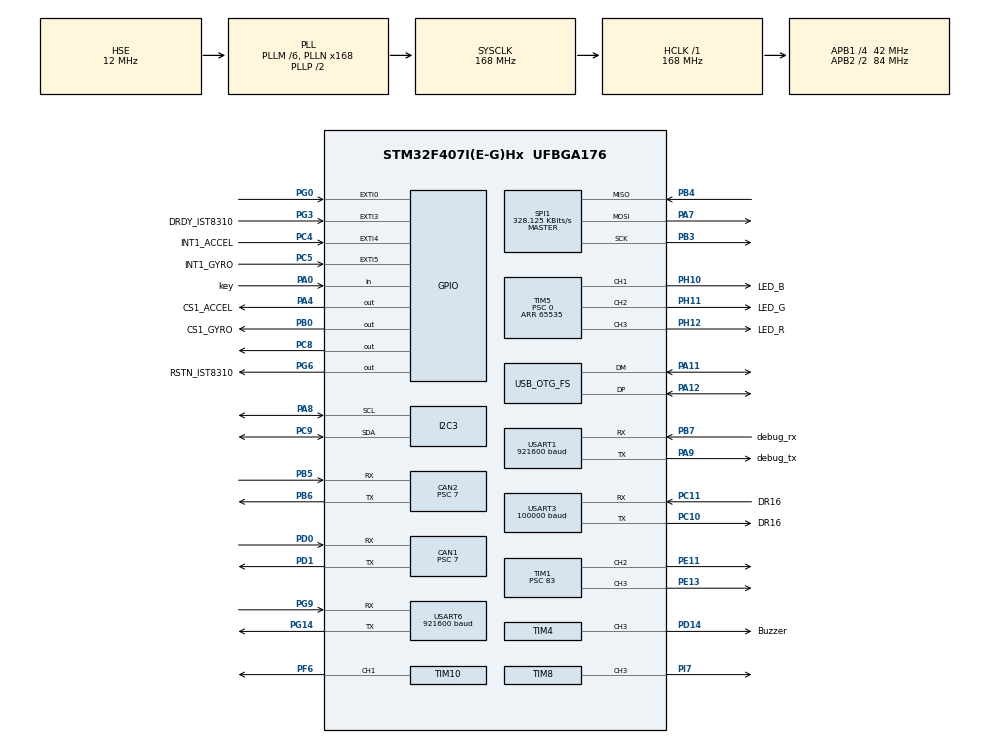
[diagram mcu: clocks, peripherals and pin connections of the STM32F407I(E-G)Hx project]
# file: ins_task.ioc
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CAN1.ABOM=ENABLE
CAN1.AWUM=ENABLE
CAN1.BS1=CAN_BS1_3TQ
CAN1.BS2=CAN_BS2_2TQ
CAN1.CalculateBaudRate=999999
CAN1.CalculateTimeBit=1000
CAN1.CalculateTimeQuantum=166.66666666666669
CAN1.NART=ENABLE
CAN1.Prescaler=7
CAN1.TXFP=ENABLE
CAN2.ABOM=ENABLE
CAN2.AWUM=ENABLE
CAN2.BS1=CAN_BS1_3TQ
CAN2.BS2=CAN_BS2_2TQ
CAN2.CalculateBaudRate=999999
CAN2.CalculateTimeQuantum=166.66666666666669
CAN2.Prescaler=7
Dma.Request0=SPI1_RX
Dma.Request1=SPI1_TX
Dma.Request2=USART3_RX
Dma.Request3=USART6_RX
Dma.Request4=USART1_RX
Dma.Request5=TIM8_CH3
Dma.SPI1_RX.0.Direction=DMA_PERIPH_TO_MEMORY
Dma.SPI1_RX.0.FIFOMode=DMA_FIFOMODE_DISABLE
Dma.SPI1_RX.0.Instance=DMA2_Stream2
Dma.SPI1_RX.0.MemDataAlignment=DMA_MDATAALIGN_BYTE
Dma.SPI1_RX.0.MemInc=DMA_MINC_ENABLE
Dma.SPI1_RX.0.Mode=DMA_NORMAL
Dma.SPI1_RX.0.PeriphDataAlignment=DMA_PDATAALIGN_BYTE
Dma.SPI1_RX.0.PeriphInc=DMA_PINC_DISABLE
Dma.SPI1_RX.0.Priority=DMA_PRIORITY_VERY_HIGH
Dma.SPI1_TX.1.Direction=DMA_MEMORY_TO_PERIPH
Dma.SPI1_TX.1.FIFOMode=DMA_FIFOMODE_DISABLE
Dma.SPI1_TX.1.Instance=DMA2_Stream3
Dma.SPI1_TX.1.MemDataAlignment=DMA_MDATAALIGN_BYTE
Dma.SPI1_TX.1.MemInc=DMA_MINC_ENABLE
Dma.SPI1_TX.1.Mode=DMA_NORMAL
Dma.SPI1_TX.1.PeriphDataAlignment=DMA_PDATAALIGN_BYTE
Dma.SPI1_TX.1.PeriphInc=DMA_PINC_DISABLE
Dma.SPI1_TX.1.Priority=DMA_PRIORITY_HIGH
Dma.TIM8_CH3.5.Direction=DMA_MEMORY_TO_PERIPH
Dma.TIM8_CH3.5.FIFOMode=DMA_FIFOMODE_DISABLE
Dma.TIM8_CH3.5.Instance=DMA2_Stream4
Dma.TIM8_CH3.5.MemDataAlignment=DMA_MDATAALIGN_HALFWORD
Dma.TIM8_CH3.5.MemInc=DMA_MINC_ENABLE
Dma.TIM8_CH3.5.Mode=DMA_NORMAL
Dma.TIM8_CH3.5.PeriphDataAlignment=DMA_PDATAALIGN_HALFWORD
Dma.TIM8_CH3.5.PeriphInc=DMA_PINC_DISABLE
Dma.TIM8_CH3.5.Priority=DMA_PRIORITY_LOW
Dma.USART1_RX.4.Direction=DMA_PERIPH_TO_MEMORY
Dma.USART1_RX.4.FIFOMode=DMA_FIFOMODE_DISABLE
Dma.USART1_RX.4.Instance=DMA2_Stream5
Dma.USART1_RX.4.MemDataAlignment=DMA_MDATAALIGN_BYTE
Dma.USART1_RX.4.MemInc=DMA_MINC_ENABLE
Dma.USART1_RX.4.Mode=DMA_CIRCULAR
Dma.USART1_RX.4.PeriphDataAlignment=DMA_PDATAALIGN_BYTE
Dma.USART1_RX.4.PeriphInc=DMA_PINC_DISABLE
Dma.USART1_RX.4.Priority=DMA_PRIORITY_LOW
Dma.USART3_RX.2.Direction=DMA_PERIPH_TO_MEMORY
Dma.USART3_RX.2.FIFOMode=DMA_FIFOMODE_DISABLE
Dma.USART3_RX.2.Instance=DMA1_Stream1
Dma.USART3_RX.2.MemDataAlignment=DMA_MDATAALIGN_BYTE
Dma.USART3_RX.2.MemInc=DMA_MINC_ENABLE
Dma.USART3_RX.2.Mode=DMA_CIRCULAR
Dma.USART3_RX.2.PeriphDataAlignment=DMA_PDATAALIGN_BYTE
Dma.USART3_RX.2.PeriphInc=DMA_PINC_DISABLE
Dma.USART3_RX.2.Priority=DMA_PRIORITY_LOW
Dma.USART6_RX.3.Direction=DMA_PERIPH_TO_MEMORY
Dma.USART6_RX.3.FIFOMode=DMA_FIFOMODE_DISABLE
Dma.USART6_RX.3.Instance=DMA2_Stream1
Dma.USART6_RX.3.MemDataAlignment=DMA_MDATAALIGN_BYTE
Dma.USART6_RX.3.MemInc=DMA_MINC_ENABLE
Dma.USART6_RX.3.Mode=DMA_NORMAL
Dma.USART6_RX.3.PeriphDataAlignment=DMA_PDATAALIGN_BYTE
Dma.USART6_RX.3.PeriphInc=DMA_PINC_DISABLE
Dma.USART6_RX.3.Priority=DMA_PRIORITY_LOW
FREERTOS.INCLUDE_eTaskGetState=1
FREERTOS.INCLUDE_pcTaskGetTaskName=1
FREERTOS.INCLUDE_uxTaskGetStackHighWaterMark=1
FREERTOS.INCLUDE_vTaskCleanUpResources=1
FREERTOS.INCLUDE_vTaskDelayUntil=1
FREERTOS.INCLUDE_xEventGroupSetBitFromISR=1
FREERTOS.INCLUDE_xQueueGetMutexHolder=1
FREERTOS.INCLUDE_xSemaphoreGetMutexHolder=1
FREERTOS.INCLUDE_xTaskAbortDelay=1
FREERTOS.INCLUDE_xTaskGetCurrentTaskHandle=1
FREERTOS.INCLUDE_xTaskGetHandle=1
FREERTOS.INCLUDE_xTimerPendFunctionCall=1
FREERTOS.Tasks01=All_Init,0,128,All_Init_Run,Default,NULL,Dynamic,NULL,NULL
FREERTOS.configTOTAL_HEAP_SIZE=24576
I2C3.I2C_Mode=I2C_Fast
Mcu.Family=STM32F4
Mcu.Name=STM32F407I(E-G)Hx
Mcu.Package=UFBGA176
NVIC.CAN1_RX0_IRQn=true\:5\:0\:false\:false\:true\:true\:true\:true\:true
NVIC.CAN2_RX0_IRQn=true\:5\:0\:true\:false\:true\:true\:true\:true\:true
NVIC.DMA1_Stream1_IRQn=true\:5\:0\:false\:false\:true\:true\:false\:true\:true
NVIC.DMA2_Stream1_IRQn=true\:5\:0\:false\:false\:true\:true\:false\:true\:true
NVIC.DMA2_Stream2_IRQn=true\:5\:0\:true\:false\:false\:true\:false\:true\:true
NVIC.DMA2_Stream3_IRQn=true\:5\:0\:true\:false\:false\:true\:false\:true\:true
NVIC.DMA2_Stream4_IRQn=true\:5\:0\:false\:false\:true\:true\:false\:true\:true
NVIC.DMA2_Stream5_IRQn=true\:5\:0\:false\:false\:true\:true\:false\:true\:true
NVIC.EXTI0_IRQn=true\:6\:0\:true\:false\:true\:true\:true\:true\:true
NVIC.EXTI3_IRQn=true\:5\:0\:true\:false\:true\:true\:true\:true\:true
NVIC.EXTI4_IRQn=true\:5\:0\:true\:false\:true\:true\:true\:true\:true
NVIC.EXTI9_5_IRQn=true\:5\:0\:true\:false\:true\:true\:true\:true\:true
NVIC.OTG_FS_IRQn=true\:5\:0\:false\:false\:true\:true\:true\:true\:true
NVIC.PriorityGroup=NVIC_PRIORITYGROUP_4
NVIC.TIM6_DAC_IRQn=true\:0\:0\:false\:false\:true\:false\:true\:true\:true
NVIC.TimeBase=TIM6_DAC_IRQn
NVIC.TimeBaseIP=TIM6
NVIC.USART1_IRQn=true\:5\:0\:false\:false\:true\:true\:true\:true\:true
NVIC.USART3_IRQn=true\:5\:0\:false\:false\:true\:true\:true\:true\:true
NVIC.USART6_IRQn=true\:5\:0\:false\:false\:true\:true\:true\:true\:true
PA0-WKUP.GPIO_Label=key
PA0-WKUP.GPIO_PuPd=GPIO_PULLUP
PA0-WKUP.Signal=GPIO_Input
PA11.Mode=Device_Only
PA11.Signal=USB_OTG_FS_DM
PA12.Mode=Device_Only
PA12.Signal=USB_OTG_FS_DP
PA13.Mode=Serial_Wire
PA13.Signal=SYS_JTMS-SWDIO
PA14.Mode=Serial_Wire
PA14.Signal=SYS_JTCK-SWCLK
PA4.GPIO_Label=CS1_ACCEL
PA4.GPIO_PuPd=GPIO_PULLUP
PA4.GPIO_Speed=GPIO_SPEED_FREQ_HIGH
PA4.PinState=GPIO_PIN_SET
PA4.Signal=GPIO_Output
PA7.GPIO_PuPd=GPIO_PULLUP
PA7.Mode=Full_Duplex_Master
PA7.Signal=SPI1_MOSI
PA8.GPIO_Pu=GPIO_PULLUP
PA8.Mode=I2C
PA8.Signal=I2C3_SCL
PA9.GPIO_Label=debug_tx
PA9.Mode=Asynchronous
PA9.Signal=USART1_TX
PB0.GPIO_Label=CS1_GYRO
PB0.GPIO_PuPd=GPIO_PULLUP
PB0.GPIO_Speed=GPIO_SPEED_FREQ_HIGH
PB0.PinState=GPIO_PIN_SET
PB0.Signal=GPIO_Output
PB3.GPIO_PuPd=GPIO_PULLUP
PB3.Mode=Full_Duplex_Master
PB3.Signal=SPI1_SCK
PB4.GPIO_PuPd=GPIO_PULLUP
PB4.Mode=Full_Duplex_Master
PB4.Signal=SPI1_MISO
PB5.Mode=CAN_Activate
PB5.Signal=CAN2_RX
PB6.Mode=CAN_Activate
PB6.Signal=CAN2_TX
PB7.GPIO_Label=debug_rx
PB7.Mode=Asynchronous
PB7.Signal=USART1_RX
PC10.GPIO_Label=DR16
PC10.Mode=Asynchronous
PC10.Signal=USART3_TX
PC11.GPIO_Label=DR16
PC11.Mode=Asynchronous
PC11.Signal=USART3_RX
PC4.GPIO_Label=INT1_ACCEL
PC4.GPIO_ModeDefaultEXTI=GPIO_MODE_IT_FALLING
PC4.GPIO_PuPd=GPIO_PULLUP
PC4.Signal=GPXTI4
PC5.GPIO_Label=INT1_GYRO
PC5.GPIO_ModeDefaultEXTI=GPIO_MODE_IT_FALLING
PC5.GPIO_PuPd=GPIO_PULLUP
PC5.Signal=GPXTI5
PC8.GPIO_PuPd=GPIO_NOPULL
PC8.Signal=GPIO_Output
PC9.GPIO_Pu=GPIO_PULLUP
PC9.Mode=I2C
PC9.Signal=I2C3_SDA
PD0.Mode=CAN_Activate
PD0.Signal=CAN1_RX
PD1.Mode=CAN_Activate
PD1.Signal=CAN1_TX
PD14.GPIO_Label=Buzzer
PD14.Signal=S_TIM4_CH3
PE11.Signal=S_TIM1_CH2
PE13.Signal=S_TIM1_CH3
PF6.GPIO_PuPd=GPIO_PULLUP
PF6.GPIO_Speed=GPIO_SPEED_FREQ_HIGH
PF6.Signal=S_TIM10_CH1
PG0.GPIO_ModeDefaultEXTI=GPIO_MODE_IT_FALLING
PG0.GPIO_PuPd=GPIO_PULLUP
PG0.Signal=GPXTI0
PG14.Mode=Asynchronous
PG14.Signal=USART6_TX
PG3.GPIO_Label=DRDY_IST8310
PG3.GPIO_ModeDefaultEXTI=GPIO_MODE_IT_FALLING
PG3.GPIO_PuPd=GPIO_PULLUP
PG3.Signal=GPXTI3
PG6.GPIO_Label=RSTN_IST8310
PG6.GPIO_PuPd=GPIO_PULLUP
PG6.GPIO_Speed=GPIO_SPEED_FREQ_MEDIUM
PG6.PinState=GPIO_PIN_SET
PG6.Signal=GPIO_Output
PG9.Mode=Asynchronous
PG9.Signal=USART6_RX
PH0-OSC_IN.Mode=HSE-External-Oscillator
PH0-OSC_IN.Signal=RCC_OSC_IN
PH1-OSC_OUT.Mode=HSE-External-Oscillator
PH1-OSC_OUT.Signal=RCC_OSC_OUT
PH10.GPIO_Label=LED_B
PH10.GPIO_PuPd=GPIO_PULLUP
PH10.GPIO_Speed=GPIO_SPEED_FREQ_HIGH
PH10.Signal=S_TIM5_CH1
PH11.GPIO_Label=LED_G
PH11.GPIO_PuPd=GPIO_PULLUP
PH11.GPIO_Speed=GPIO_SPEED_FREQ_HIGH
PH11.Signal=S_TIM5_CH2
PH12.GPIO_Label=LED_R
PH12.GPIO_PuPd=GPIO_PULLUP
PH12.GPIO_Speed=GPIO_SPEED_FREQ_HIGH
PH12.Signal=S_TIM5_CH3
PI7.Signal=S_TIM8_CH3
ProjectManager.HeapSize=0x2000
ProjectManager.StackSize=0x2000
ProjectManager.TargetToolchain=MDK-ARM V5.32
RCC.48MHZClocksFreq_Value=48000000
RCC.AHBFreq_Value=168000000
RCC.APB1CLKDivider=RCC_HCLK_DIV4
RCC.APB1Freq_Value=42000000
RCC.APB1TimFreq_Value=84000000
RCC.APB2CLKDivider=RCC_HCLK_DIV2
RCC.APB2Freq_Value=84000000
RCC.APB2TimFreq_Value=168000000
RCC.CortexFreq_Value=168000000
RCC.HCLKFreq_Value=168000000
RCC.HSE_VALUE=12000000
RCC.HSI_VALUE=16000000
RCC.LSE_VALUE=32768
RCC.PLLM=6
RCC.PLLN=168
RCC.PLLQ=7
RCC.PLLSourceVirtual=RCC_PLLSOURCE_HSE
RCC.RCC_RTC_Clock_SourceVirtual=RCC_RTCCLKSOURCE_HSE_DIV30
RCC.RCC_RTC_Clock_Source_FROM_HSE=RCC_RTCCLKSOURCE_HSE_DIV30
RCC.SYSCLKFreq_VALUE=168000000
RCC.SYSCLKSource=RCC_SYSCLKSOURCE_PLLCLK
RCC.VCOOutputFreq_Value=336000000
SH.S_TIM10_CH1.0=TIM10_CH1,PWM Generation1 CH1
SH.S_TIM1_CH2.0=TIM1_CH2,PWM Generation2 CH2
SH.S_TIM1_CH3.0=TIM1_CH3,PWM Generation3 CH3
SH.S_TIM4_CH3.0=TIM4_CH3,PWM Generation3 CH3
SH.S_TIM5_CH1.0=TIM5_CH1,PWM Generation1 CH1
SH.S_TIM5_CH2.0=TIM5_CH2,PWM Generation2 CH2
SH.S_TIM5_CH3.0=TIM5_CH3,PWM Generation3 CH3
SH.S_TIM8_CH3.0=TIM8_CH3,PWM Generation3 CH3
SPI1.BaudRatePrescaler=SPI_BAUDRATEPRESCALER_256
SPI1.CLKPhase=SPI_PHASE_2EDGE
SPI1.CLKPolarity=SPI_POLARITY_HIGH
SPI1.CalculateBaudRate=328.125 KBits/s
SPI1.Direction=SPI_DIRECTION_2LINES
SPI1.Mode=SPI_MODE_MASTER
SPI1.VirtualType=VM_MASTER
TIM1.Channel-PWM\ Generation2\ CH2=TIM_CHANNEL_2
TIM1.Channel-PWM\ Generation3\ CH3=TIM_CHANNEL_3
TIM1.Period=19999
TIM1.Prescaler=83
TIM1.Pulse-PWM\ Generation2\ CH2=83
TIM10.Channel=TIM_CHANNEL_1
TIM10.Period=4999
TIM4.Channel-PWM\ Generation3\ CH3=TIM_CHANNEL_3
TIM4.Period=370
TIM4.Prescaler=130
TIM4.Pulse-PWM\ Generation3\ CH3=0
TIM5.Channel-PWM\ Generation1\ CH1=TIM_CHANNEL_1
TIM5.Channel-PWM\ Generation2\ CH2=TIM_CHANNEL_2
TIM5.Channel-PWM\ Generation3\ CH3=TIM_CHANNEL_3
TIM5.Period=65535
TIM5.Prescaler=0
TIM8.Channel-PWM\ Generation3\ CH3=TIM_CHANNEL_3
TIM8.Period=224
TIM8.Prescaler=0
USART1.BaudRate=921600
USART1.VirtualMode=VM_ASYNC
USART3.BaudRate=100000
USART3.Parity=PARITY_NONE
USART3.VirtualMode=VM_ASYNC
USART3.WordLength=WORDLENGTH_8B
USART6.BaudRate=921600
USART6.VirtualMode=VM_ASYNC
USB_DEVICE.CLASS_NAME_FS=CDC
USB_DEVICE.VirtualMode-CDC_FS=Cdc
USB_DEVICE.VirtualModeFS=Cdc_FS
USB_OTG_FS.VirtualMode=Device_Only
VP_FREERTOS_VS_CMSIS_V1.Mode=CMSIS_V1
VP_SYS_VS_tim6.Mode=TIM6
VP_TIM10_VS_ClockSourceINT.Mode=Enable_Timer
VP_TIM1_VS_ClockSourceINT.Mode=Internal
VP_TIM4_VS_ClockSourceINT.Mode=Internal
VP_TIM5_VS_ClockSourceINT.Mode=Internal
VP_TIM8_VS_ClockSourceINT.Mode=Internal
VP_USB_DEVICE_VS_USB_DEVICE_CDC_FS.Mode=CDC_FS
board=custom

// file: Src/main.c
/* USER CODE BEGIN Header */
/**
  ******************************************************************************
  * @file           : main.c
  * @brief          : Main program body
  ******************************************************************************
  * @attention
  *
  * <h2><center>&copy; Copyright (c) 2019 STMicroelectronics.
  * All rights reserved.</center></h2>
  *
  * This software component is licensed by ST under Ultimate Liberty license
  * SLA0044, the "License"; You may not use this file except in compliance with
  * the License. You may obtain a copy of the License at:
  *                             www.st.com/SLA0044
  *
  ******************************************************************************
  */
/* USER CODE END Header */
#include "main.h"
#include "cmsis_os.h"
#include "can.h"
#include "dma.h"
#include "i2c.h"
#include "spi.h"
#include "tim.h"
#include "usart.h"
#include "usb_device.h"
#include "gpio.h"

/* USER CODE BEGIN Includes */
#include "bsp_delay.h"

#include "calibrate_task.h"
#include "INS_task.h"
#include "led_flow_task.h"
#include "user_can.h"
#include "bsp_buzzer.h"
/* USER CODE END Includes */

void SystemClock_Config(void);
void MX_FREERTOS_Init(void);

int main(void)
{

  /* MCU Configuration--------------------------------------------------------*/

  /* Reset of all peripherals, Initializes the Flash interface and the Systick. */
  HAL_Init();

  /* Configure the system clock */
  SystemClock_Config();

  /* Initialize all configured peripherals */
  MX_GPIO_Init();
  MX_DMA_Init();
  MX_SPI1_Init();
  MX_TIM5_Init();
  MX_I2C3_Init();
  MX_TIM10_Init();
  MX_USART1_UART_Init();
  MX_CAN2_Init();
  MX_TIM4_Init();
  MX_CAN1_Init();
  MX_USART3_UART_Init();
  MX_USART6_UART_Init();
  MX_TIM1_Init();
  MX_TIM8_Init();

  /* Call init function for freertos objects (in freertos.c) */
  MX_FREERTOS_Init();

  /* Start scheduler */
  osKernelStart();

  /* We should never get here as control is now taken by the scheduler */
  /* Infinite loop */
  while (1)
  {

  }
}

void SystemClock_Config(void)
{
  RCC_OscInitTypeDef RCC_OscInitStruct = {0};
  RCC_ClkInitTypeDef RCC_ClkInitStruct = {0};

  /** Configure the main internal regulator output voltage
  */
  __HAL_RCC_PWR_CLK_ENABLE();
  __HAL_PWR_VOLTAGESCALING_CONFIG(PWR_REGULATOR_VOLTAGE_SCALE1);

  /** Initializes the RCC Oscillators according to the specified parameters
  * in the RCC_OscInitTypeDef structure.
  */
  RCC_OscInitStruct.OscillatorType = RCC_OSCILLATORTYPE_HSE;
  RCC_OscInitStruct.HSEState = RCC_HSE_ON;
  RCC_OscInitStruct.PLL.PLLState = RCC_PLL_ON;
  RCC_OscInitStruct.PLL.PLLSource = RCC_PLLSOURCE_HSE;
  RCC_OscInitStruct.PLL.PLLM = 6;
  RCC_OscInitStruct.PLL.PLLN = 168;
  RCC_OscInitStruct.PLL.PLLP = RCC_PLLP_DIV2;
  RCC_OscInitStruct.PLL.PLLQ = 7;
  if (HAL_RCC_OscConfig(&RCC_OscInitStruct) != HAL_OK)
  {
    Error_Handler();
  }

  /** Initializes the CPU, AHB and APB buses clocks
  */
  RCC_ClkInitStruct.ClockType = RCC_CLOCKTYPE_HCLK|RCC_CLOCKTYPE_SYSCLK
                              |RCC_CLOCKTYPE_PCLK1|RCC_CLOCKTYPE_PCLK2;
  RCC_ClkInitStruct.SYSCLKSource = RCC_SYSCLKSOURCE_PLLCLK;
  RCC_ClkInitStruct.AHBCLKDivider = RCC_SYSCLK_DIV1;
  RCC_ClkInitStruct.APB1CLKDivider = RCC_HCLK_DIV4;
  RCC_ClkInitStruct.APB2CLKDivider = RCC_HCLK_DIV2;

  if (HAL_RCC_ClockConfig(&RCC_ClkInitStruct, FLASH_LATENCY_5) != HAL_OK)
  {
    Error_Handler();
  }
}

void HAL_TIM_PeriodElapsedCallback(TIM_HandleTypeDef *htim)
{
  if (htim->Instance == TIM6) {
    HAL_IncTick();
  }
}

void Error_Handler(void)
{
}

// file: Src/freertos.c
/* USER CODE BEGIN Header */
/**
  ******************************************************************************
  * File Name          : freertos.c
  * Description        : Code for freertos applications
  ******************************************************************************
  * @attention
  *
  * <h2><center>&copy; Copyright (c) 2019 STMicroelectronics.
  * All rights reserved.</center></h2>
  *
  * This software component is licensed by ST under Ultimate Liberty license
  * SLA0044, the "License"; You may not use this file except in compliance with
  * the License. You may obtain a copy of the License at:
  *                             www.st.com/SLA0044
  *
  ******************************************************************************
  */
/* USER CODE END Header */

#include "FreeRTOS.h"
#include "task.h"
#include "main.h"
#include "cmsis_os.h"

/* USER CODE BEGIN Includes */
#include "Control_Vision.h"
#include "calibrate_task.h"
#include "typedef.h"
#include "INS_task.h"
#include "led_flow_task.h"
#include "Debug_DataScope.h"
#include "DJI_IMU.h"
#include "bsp_buzzer.h"
#include "BSP_CAN.h"
#include "bsp_delay.h"
#include "DR16_Remote.h"
#include "Chassis_control.h"
/* USER CODE END Includes */

/* USER CODE BEGIN PTD */

osThreadId calibrate_tast_handle;
osThreadId imuTaskHandle;
osThreadId led_RGB_flow_handle;

/* USER CODE END PTD */

/* USER CODE BEGIN Variables */
//CAN队列句柄
osMessageQId CAN2_Queue;
osMessageQId CAN1_ReceiveHandle;
osMessageQId CAN2_ReceiveHandle;
osThreadId IMU_Send_TaskHandle;
osThreadId CAN1_TaskHandle;
osThreadId CAN2_TaskHandle;
osThreadId Debug_TaskHandle;
osThreadId Task_ControlHandle;
osThreadId Host_Handle;
/* USER CODE END Variables */
osThreadId All_InitHandle;

/* USER CODE BEGIN FunctionPrototypes */
extern void IMU_Send(void const * argument);
extern void CAN1_REC(void const * argument);
extern void CAN2_REC(void const * argument);
extern void Debug(void const * argument);
extern void RobotControl(void const *argument);
extern void Host_Run(void const *argument);
/* USER CODE END FunctionPrototypes */

void All_Init_Run(void const * argument);

extern void MX_USB_DEVICE_Init(void);
void MX_FREERTOS_Init(void); /* (MISRA C 2004 rule 8.1) */

/* GetIdleTaskMemory prototype (linked to static allocation support) */
void vApplicationGetIdleTaskMemory( StaticTask_t **ppxIdleTaskTCBBuffer, StackType_t **ppxIdleTaskStackBuffer, uint32_t *pulIdleTaskStackSize );

/* GetTimerTaskMemory prototype (linked to static allocation support) */
void vApplicationGetTimerTaskMemory( StaticTask_t **ppxTimerTaskTCBBuffer, StackType_t **ppxTimerTaskStackBuffer, uint32_t *pulTimerTaskStackSize );

/* USER CODE BEGIN GET_IDLE_TASK_MEMORY */
static StaticTask_t xIdleTaskTCBBuffer;
static StackType_t xIdleStack[configMINIMAL_STACK_SIZE];

void vApplicationGetIdleTaskMemory( StaticTask_t **ppxIdleTaskTCBBuffer, StackType_t **ppxIdleTaskStackBuffer, uint32_t *pulIdleTaskStackSize )
{
  *ppxIdleTaskTCBBuffer = &xIdleTaskTCBBuffer;
  *ppxIdleTaskStackBuffer = &xIdleStack[0];
  *pulIdleTaskStackSize = configMINIMAL_STACK_SIZE;
  /* place for user code */
}
/* USER CODE END GET_IDLE_TASK_MEMORY */

/* USER CODE BEGIN GET_TIMER_TASK_MEMORY */
static StaticTask_t xTimerTaskTCBBuffer;
static StackType_t xTimerStack[configTIMER_TASK_STACK_DEPTH];

void vApplicationGetTimerTaskMemory( StaticTask_t **ppxTimerTaskTCBBuffer, StackType_t **ppxTimerTaskStackBuffer, uint32_t *pulTimerTaskStackSize )
{
  *ppxTimerTaskTCBBuffer = &xTimerTaskTCBBuffer;
  *ppxTimerTaskStackBuffer = &xTimerStack[0];
  *pulTimerTaskStackSize = configTIMER_TASK_STACK_DEPTH;
  /* place for user code */
}
/* USER CODE END GET_TIMER_TASK_MEMORY */

void MX_FREERTOS_Init(void) {

  /* USER CODE BEGIN RTOS_QUEUES */
  /* add queues, ... */
	CAN2_Queue = xQueueCreate(64,sizeof(CAN_Rx_TypeDef));

	osMessageQDef(CAN1_Receive, 64, Can_Export_Data_t);
  CAN1_ReceiveHandle = osMessageCreate(osMessageQ(CAN1_Receive), NULL);

	osMessageQDef(CAN2_Receive, 64, Can_Export_Data_t);
  CAN2_ReceiveHandle = osMessageCreate(osMessageQ(CAN2_Receive), NULL);
  /* USER CODE END RTOS_QUEUES */

  /* Create the thread(s) */
  /* definition and creation of All_Init */
  osThreadDef(All_Init, All_Init_Run, osPriorityNormal, 0, 128);
  All_InitHandle = osThreadCreate(osThread(All_Init), NULL);

  /* USER CODE BEGIN RTOS_THREADS */
  /* add threads, ... */
	osThreadDef(IMU_Send_Task, IMU_Send, osPriorityHigh, 0, 128);
  IMU_Send_TaskHandle = osThreadCreate(osThread(IMU_Send_Task), NULL);

	osThreadDef(CAN1_Task, CAN1_REC, osPriorityHigh, 0, 256);
  CAN1_TaskHandle = osThreadCreate(osThread(CAN1_Task), NULL);

	osThreadDef(CAN2_Task, CAN2_REC, osPriorityHigh, 0, 256);
  CAN2_TaskHandle = osThreadCreate(osThread(CAN2_Task), NULL);

  osThreadDef(cali, calibrate_task, osPriorityAboveNormal, 0, 512);
  calibrate_tast_handle = osThreadCreate(osThread(cali), NULL);

  osThreadDef(imuTask, INS_task, osPriorityRealtime, 0, 1024);
  imuTaskHandle = osThreadCreate(osThread(imuTask), NULL);

  osThreadDef(led, led_RGB_flow_task, osPriorityNormal, 0, 256);
  led_RGB_flow_handle = osThreadCreate(osThread(led), NULL);

	osThreadDef(Debug_Task, Debug, osPriorityNormal, 0, 128);
  Debug_TaskHandle = osThreadCreate(osThread(Debug_Task), NULL);

	osThreadDef(Host_send, Host_Run, osPriorityLow, 0, 256);
  Host_Handle = osThreadCreate(osThread(Host_send), NULL);
  /* USER CODE END RTOS_THREADS */

}

void All_Init_Run(void const * argument)
{
  /* init code for USB_DEVICE */
  MX_USB_DEVICE_Init();
  /* USER CODE BEGIN All_Init_Run */
	taskENTER_CRITICAL();   //进入临界区
	delay_init();
	Buzzer_Init();
  cali_param_init();
  CAN_1_Filter_Config();
  CAN_2_Filter_Config();
	DR16_Fun.DR16_USART_Receive_DMA(&huart3);
	Robot_Init();
	Chassis_Init();
	Control_Vision_FUN.Vision_USART_Receive_DMA(&huart1);
	Control_Vision_FUN.Vision_Init();//开机的时候先把位置给了

	HAL_TIM_Base_Start(&htim1);
	HAL_TIM_MspPostInit(&htim1);

	HAL_TIM_PWM_Start(&htim1,TIM_CHANNEL_2);
	__HAL_TIM_SetCompare(&htim1, TIM_CHANNEL_2, 1750);

	HAL_TIM_PWM_Start(&htim1,TIM_CHANNEL_3);
	__HAL_TIM_SetCompare(&htim1, TIM_CHANNEL_3, 4100);

  __HAL_CAN_ENABLE_IT(&hcan1, CAN_IT_RX_FIFO0_MSG_PENDING); //  CAN_IT_FMP0
	__HAL_CAN_ENABLE_IT(&hcan2, CAN_IT_RX_FIFO0_MSG_PENDING); //  CAN_IT_FMP0
  osThreadDef(Task_Control, RobotControl, osPriorityRealtime, 0, 600);
  Task_ControlHandle = osThreadCreate(osThread(Task_Control), NULL);
	taskEXIT_CRITICAL();                  //退出临界区
	vTaskDelete(NULL);
  /* USER CODE END All_Init_Run */
}
